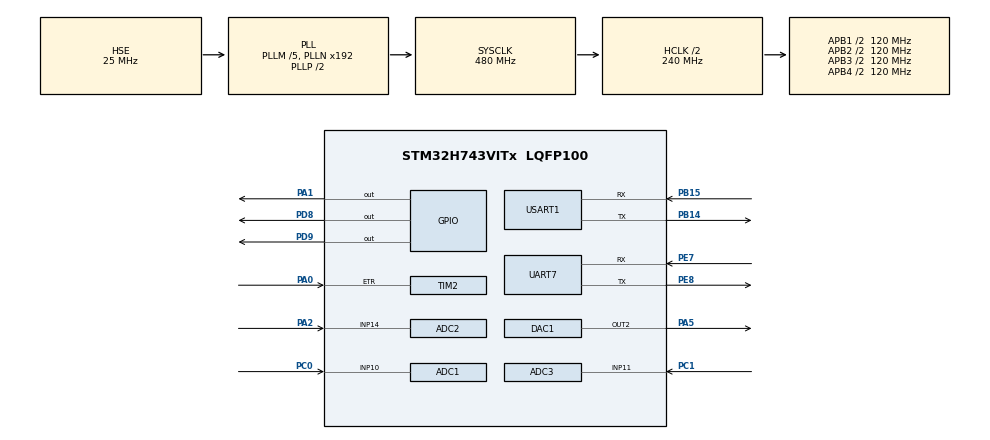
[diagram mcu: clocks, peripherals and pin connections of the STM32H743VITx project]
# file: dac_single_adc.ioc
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ADC1.Channel-0\#ChannelRegularConversion=ADC_CHANNEL_10
ADC1.ConversionDataManagement=ADC_CONVERSIONDATA_DMA_CIRCULAR
ADC1.EOCSelection=ADC_EOC_SINGLE_CONV
ADC1.ExternalTrigConv=ADC_EXTERNALTRIG_T15_TRGO
ADC1.NbrOfConversionFlag=1
ADC1.OffsetNumber-0\#ChannelRegularConversion=ADC_OFFSET_NONE
ADC1.OffsetSignedSaturation-0\#ChannelRegularConversion=DISABLE
ADC1.Rank-0\#ChannelRegularConversion=1
ADC1.SamplingTime-0\#ChannelRegularConversion=ADC_SAMPLETIME_1CYCLE_5
ADC1.master=1
ADC2.Channel-1\#ChannelRegularConversion=ADC_CHANNEL_14
ADC2.ConversionDataManagement=ADC_CONVERSIONDATA_DMA_CIRCULAR
ADC2.ExternalTrigConv=ADC_EXTERNALTRIG_T15_TRGO
ADC2.NbrOfConversionFlag=1
ADC2.OffsetNumber-1\#ChannelRegularConversion=ADC_OFFSET_NONE
ADC2.OffsetSignedSaturation-1\#ChannelRegularConversion=DISABLE
ADC2.Rank-1\#ChannelRegularConversion=1
ADC2.SamplingTime-1\#ChannelRegularConversion=ADC_SAMPLETIME_1CYCLE_5
ADC3.Channel-0\#ChannelRegularConversion=ADC_CHANNEL_11
ADC3.ConversionDataManagement=ADC_CONVERSIONDATA_DMA_CIRCULAR
ADC3.ExternalTrigConv=ADC_EXTERNALTRIG_T15_TRGO
ADC3.NbrOfConversion=1
ADC3.NbrOfConversionFlag=1
ADC3.OffsetNumber-0\#ChannelRegularConversion=ADC_OFFSET_NONE
ADC3.OffsetSignedSaturation-0\#ChannelRegularConversion=DISABLE
ADC3.Rank-0\#ChannelRegularConversion=1
ADC3.SamplingTime-0\#ChannelRegularConversion=ADC_SAMPLETIME_1CYCLE_5
CORTEX_M7.AccessPermission-Cortex_Memory_Protection_Unit_Region0_Settings=MPU_REGION_FULL_ACCESS
CORTEX_M7.AccessPermission-Cortex_Memory_Protection_Unit_Region1_Settings=MPU_REGION_FULL_ACCESS
CORTEX_M7.AccessPermission-Cortex_Memory_Protection_Unit_Region2_Settings=MPU_REGION_FULL_ACCESS
CORTEX_M7.AccessPermission-Cortex_Memory_Protection_Unit_Region3_Settings=MPU_REGION_FULL_ACCESS
CORTEX_M7.AccessPermission-Cortex_Memory_Protection_Unit_Region4_Settings=MPU_REGION_FULL_ACCESS
CORTEX_M7.BaseAddress-Cortex_Memory_Protection_Unit_Region0_Settings=0x24000000
CORTEX_M7.BaseAddress-Cortex_Memory_Protection_Unit_Region1_Settings=0x30000000
CORTEX_M7.BaseAddress-Cortex_Memory_Protection_Unit_Region2_Settings=0x30020000
CORTEX_M7.BaseAddress-Cortex_Memory_Protection_Unit_Region3_Settings=0x30040000
CORTEX_M7.BaseAddress-Cortex_Memory_Protection_Unit_Region4_Settings=0x38000000
CORTEX_M7.CPU_DCache=Enabled
CORTEX_M7.CPU_ICache=Enabled
CORTEX_M7.Enable-Cortex_Memory_Protection_Unit_Region0_Settings=MPU_REGION_ENABLE
CORTEX_M7.Enable-Cortex_Memory_Protection_Unit_Region1_Settings=MPU_REGION_ENABLE
CORTEX_M7.Enable-Cortex_Memory_Protection_Unit_Region2_Settings=MPU_REGION_ENABLE
CORTEX_M7.Enable-Cortex_Memory_Protection_Unit_Region3_Settings=MPU_REGION_ENABLE
CORTEX_M7.Enable-Cortex_Memory_Protection_Unit_Region4_Settings=MPU_REGION_ENABLE
CORTEX_M7.IsBufferable-Cortex_Memory_Protection_Unit_Region0_Settings=MPU_ACCESS_BUFFERABLE
CORTEX_M7.IsCacheable-Cortex_Memory_Protection_Unit_Region0_Settings=MPU_ACCESS_CACHEABLE
CORTEX_M7.MPU_Control=MPU_PRIVILEGED_DEFAULT
CORTEX_M7.Size-Cortex_Memory_Protection_Unit_Region0_Settings=MPU_REGION_SIZE_512KB
CORTEX_M7.Size-Cortex_Memory_Protection_Unit_Region1_Settings=MPU_REGION_SIZE_128KB
CORTEX_M7.Size-Cortex_Memory_Protection_Unit_Region2_Settings=MPU_REGION_SIZE_128KB
CORTEX_M7.Size-Cortex_Memory_Protection_Unit_Region3_Settings=MPU_REGION_SIZE_32KB
CORTEX_M7.Size-Cortex_Memory_Protection_Unit_Region4_Settings=MPU_REGION_SIZE_64KB
CORTEX_M7.TypeExtField-Cortex_Memory_Protection_Unit_Region0_Settings=MPU_TEX_LEVEL1
CORTEX_M7.TypeExtField-Cortex_Memory_Protection_Unit_Region1_Settings=MPU_TEX_LEVEL1
CORTEX_M7.TypeExtField-Cortex_Memory_Protection_Unit_Region2_Settings=MPU_TEX_LEVEL1
CORTEX_M7.TypeExtField-Cortex_Memory_Protection_Unit_Region3_Settings=MPU_TEX_LEVEL1
CORTEX_M7.TypeExtField-Cortex_Memory_Protection_Unit_Region4_Settings=MPU_TEX_LEVEL1
DAC1.DAC_Channel-DAC_OUT2=DAC_CHANNEL_2
Dma.ADC1.0.Direction=DMA_PERIPH_TO_MEMORY
Dma.ADC1.0.EventEnable=DISABLE
Dma.ADC1.0.FIFOMode=DMA_FIFOMODE_DISABLE
Dma.ADC1.0.Instance=DMA1_Stream0
Dma.ADC1.0.MemDataAlignment=DMA_MDATAALIGN_HALFWORD
Dma.ADC1.0.MemInc=DMA_MINC_ENABLE
Dma.ADC1.0.Mode=DMA_NORMAL
Dma.ADC1.0.PeriphDataAlignment=DMA_PDATAALIGN_HALFWORD
Dma.ADC1.0.PeriphInc=DMA_PINC_DISABLE
Dma.ADC1.0.Polarity=HAL_DMAMUX_REQ_GEN_RISING
Dma.ADC1.0.Priority=DMA_PRIORITY_LOW
Dma.ADC1.0.RequestNumber=1
Dma.ADC1.0.SignalID=NONE
Dma.ADC1.0.SyncEnable=DISABLE
Dma.ADC1.0.SyncPolarity=HAL_DMAMUX_SYNC_NO_EVENT
Dma.ADC1.0.SyncRequestNumber=1
Dma.ADC1.0.SyncSignalID=NONE
Dma.ADC2.3.Direction=DMA_PERIPH_TO_MEMORY
Dma.ADC2.3.EventEnable=DISABLE
Dma.ADC2.3.FIFOMode=DMA_FIFOMODE_DISABLE
Dma.ADC2.3.Instance=DMA1_Stream1
Dma.ADC2.3.MemDataAlignment=DMA_MDATAALIGN_HALFWORD
Dma.ADC2.3.MemInc=DMA_MINC_ENABLE
Dma.ADC2.3.Mode=DMA_NORMAL
Dma.ADC2.3.PeriphDataAlignment=DMA_PDATAALIGN_HALFWORD
Dma.ADC2.3.PeriphInc=DMA_PINC_DISABLE
Dma.ADC2.3.Polarity=HAL_DMAMUX_REQ_GEN_RISING
Dma.ADC2.3.Priority=DMA_PRIORITY_LOW
Dma.ADC2.3.RequestNumber=1
Dma.ADC2.3.SignalID=NONE
Dma.ADC2.3.SyncEnable=DISABLE
Dma.ADC2.3.SyncPolarity=HAL_DMAMUX_SYNC_NO_EVENT
Dma.ADC2.3.SyncRequestNumber=1
Dma.ADC2.3.SyncSignalID=NONE
Dma.ADC3.2.Direction=DMA_PERIPH_TO_MEMORY
Dma.ADC3.2.EventEnable=DISABLE
Dma.ADC3.2.FIFOMode=DMA_FIFOMODE_DISABLE
Dma.ADC3.2.Instance=DMA1_Stream2
Dma.ADC3.2.MemDataAlignment=DMA_MDATAALIGN_HALFWORD
Dma.ADC3.2.MemInc=DMA_MINC_ENABLE
Dma.ADC3.2.Mode=DMA_NORMAL
Dma.ADC3.2.PeriphDataAlignment=DMA_PDATAALIGN_HALFWORD
Dma.ADC3.2.PeriphInc=DMA_PINC_DISABLE
Dma.ADC3.2.Polarity=HAL_DMAMUX_REQ_GEN_RISING
Dma.ADC3.2.Priority=DMA_PRIORITY_LOW
Dma.ADC3.2.RequestNumber=1
Dma.ADC3.2.SignalID=NONE
Dma.ADC3.2.SyncEnable=DISABLE
Dma.ADC3.2.SyncPolarity=HAL_DMAMUX_SYNC_NO_EVENT
Dma.ADC3.2.SyncRequestNumber=1
Dma.ADC3.2.SyncSignalID=NONE
Dma.DAC1_CH2.1.Direction=DMA_MEMORY_TO_PERIPH
Dma.DAC1_CH2.1.EventEnable=DISABLE
Dma.DAC1_CH2.1.FIFOMode=DMA_FIFOMODE_DISABLE
Dma.DAC1_CH2.1.Instance=DMA1_Stream3
Dma.DAC1_CH2.1.MemDataAlignment=DMA_MDATAALIGN_HALFWORD
Dma.DAC1_CH2.1.MemInc=DMA_MINC_ENABLE
Dma.DAC1_CH2.1.Mode=DMA_CIRCULAR
Dma.DAC1_CH2.1.PeriphDataAlignment=DMA_PDATAALIGN_HALFWORD
Dma.DAC1_CH2.1.PeriphInc=DMA_PINC_DISABLE
Dma.DAC1_CH2.1.Polarity=HAL_DMAMUX_REQ_GEN_RISING
Dma.DAC1_CH2.1.Priority=DMA_PRIORITY_LOW
Dma.DAC1_CH2.1.RequestNumber=1
Dma.DAC1_CH2.1.SignalID=NONE
Dma.DAC1_CH2.1.SyncEnable=DISABLE
Dma.DAC1_CH2.1.SyncPolarity=HAL_DMAMUX_SYNC_NO_EVENT
Dma.DAC1_CH2.1.SyncRequestNumber=1
Dma.DAC1_CH2.1.SyncSignalID=NONE
Dma.Request0=ADC1
Dma.Request1=DAC1_CH2
Dma.Request2=ADC3
Dma.Request3=ADC2
Mcu.Family=STM32H7
Mcu.Name=STM32H743VITx
Mcu.Package=LQFP100
NVIC.DMA1_Stream0_IRQn=true\:0\:0\:false\:false\:true\:false\:true\:true
NVIC.DMA1_Stream1_IRQn=true\:0\:0\:false\:false\:true\:false\:true\:true
NVIC.DMA1_Stream2_IRQn=true\:0\:0\:false\:false\:true\:false\:true\:true
NVIC.DMA1_Stream3_IRQn=true\:0\:0\:false\:false\:true\:false\:true\:true
NVIC.PriorityGroup=NVIC_PRIORITYGROUP_4
NVIC.TIM4_IRQn=true\:0\:0\:false\:false\:true\:true\:true\:true
NVIC.UART7_IRQn=true\:0\:0\:false\:false\:true\:true\:true\:true
NVIC.USART1_IRQn=true\:0\:0\:false\:false\:true\:true\:true\:true
PA0.Signal=S_TIM2_CH1_ETR
PA1.Signal=GPIO_Output
PA13\ (JTMS/SWDIO).Mode=Trace_Asynchronous_SW
PA13\ (JTMS/SWDIO).Signal=DEBUG_JTMS-SWDIO
PA14\ (JTCK/SWCLK).Mode=Trace_Asynchronous_SW
PA14\ (JTCK/SWCLK).Signal=DEBUG_JTCK-SWCLK
PA2.Signal=ADCx_INP14
PA5.Signal=COMP_DAC12_group
PB14.Mode=Asynchronous
PB14.Signal=USART1_TX
PB15.Mode=Asynchronous
PB15.Signal=USART1_RX
PB3\ (JTDO/TRACESWO).Mode=Trace_Asynchronous_SW
PB3\ (JTDO/TRACESWO).Signal=DEBUG_JTDO-SWO
PC0.Signal=ADCx_INP10
PC1.Signal=ADCx_INP11
PD8.PinState=GPIO_PIN_SET
PD8.Signal=GPIO_Output
PD9.PinState=GPIO_PIN_SET
PD9.Signal=GPIO_Output
PE7.Mode=Asynchronous
PE7.Signal=UART7_RX
PE8.Mode=Asynchronous
PE8.Signal=UART7_TX
PH0-OSC_IN\ (PH0).Mode=HSE-External-Oscillator
PH0-OSC_IN\ (PH0).Signal=RCC_OSC_IN
PH1-OSC_OUT\ (PH1).Mode=HSE-External-Oscillator
PH1-OSC_OUT\ (PH1).Signal=RCC_OSC_OUT
ProjectManager.HeapSize=0x200
ProjectManager.StackSize=0x7400
ProjectManager.TargetToolchain=MDK-ARM V5.32
RCC.ADCFreq_Value=72000000
RCC.APB1Freq_Value=120000000
RCC.APB2Freq_Value=120000000
RCC.APB3Freq_Value=120000000
RCC.APB4Freq_Value=120000000
RCC.CortexFreq_Value=480000000
RCC.D1PPRE=RCC_APB3_DIV2
RCC.D2PPRE1=RCC_APB1_DIV2
RCC.D2PPRE2=RCC_APB2_DIV2
RCC.D3PPRE=RCC_APB4_DIV2
RCC.DIVM1=5
RCC.DIVM2=25
RCC.DIVN1=192
RCC.DIVN2=360
RCC.DIVP2=5
RCC.HCLKFreq_Value=240000000
RCC.HPRE=RCC_HCLK_DIV2
RCC.HSE_VALUE=25000000
RCC.PLLSourceVirtual=RCC_PLLSOURCE_HSE
RCC.PWR_Regulator_Voltage_Scale=PWR_REGULATOR_VOLTAGE_SCALE0
RCC.ProductRev=revV
RCC.SYSCLKFreq_VALUE=480000000
RCC.SYSCLKSource=RCC_SYSCLKSOURCE_PLLCLK
RCC.USBFreq_Value=480000000
SH.ADCx_INP10.0=ADC1_INP10,IN10-Single-Ended
SH.ADCx_INP11.0=ADC3_INP11,IN11-Single-Ended
SH.ADCx_INP14.0=ADC2_INP14,IN14-Single-Ended
SH.COMP_DAC12_group.0=DAC1_OUT2,DAC_OUT2
SH.S_TIM2_CH1_ETR.0=TIM2_ETR,ClockSourceETR_Mode2
TIM15.Period=16-1
TIM15.Prescaler=50-1
TIM15.TIM_MasterOutputTrigger=TIM_TRGO_UPDATE
TIM2.AutoReloadPreload=TIM_AUTORELOAD_PRELOAD_ENABLE
TIM4.AutoReloadPreload=TIM_AUTORELOAD_PRELOAD_ENABLE
TIM4.Period=1000
TIM4.Prescaler=240-1
TIM6.AutoReloadPreload=TIM_AUTORELOAD_PRELOAD_ENABLE
TIM6.Period=200-1
TIM6.Prescaler=12-1
TIM6.TIM_MasterOutputTrigger=TIM_TRGO_UPDATE
TIM7.Prescaler=239
USART1.VirtualMode-Asynchronous=VM_ASYNC
VP_MEMORYMAP_VS_MEMORYMAP.Mode=CurAppReg
VP_TIM15_VS_ClockSourceINT.Mode=Internal
VP_TIM4_VS_ClockSourceINT.Mode=Internal
VP_TIM6_VS_ClockSourceINT.Mode=Enable_Timer
VP_TIM7_VS_ClockSourceINT.Mode=Enable_Timer
board=custom

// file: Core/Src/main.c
/* USER CODE BEGIN Header */
/**
  ******************************************************************************
  * @file           : main.c
  * @brief          : Main program body
  ******************************************************************************
  * @attention
  *
  * Copyright (c) 2023 STMicroelectronics.
  * All rights reserved.
  *
  * This software is licensed under terms that can be found in the LICENSE file
  * in the root directory of this software component.
  * If no LICENSE file comes with this software, it is provided AS-IS.
  *
  ******************************************************************************
  */
/* USER CODE END Header */
#include "main.h"
#include "adc.h"
#include "dac.h"
#include "dma.h"
#include "memorymap.h"
#include "tim.h"
#include "usart.h"
#include "gpio.h"

/* USER CODE BEGIN Includes */
#include <stdio.h>
#include <string.h>
#include <stdlib.h>
//#include "fun.h"
#include "capture.h"
#include "xfft.h"
#include "stm32h7xx_hal_gpio.h"
/* USER CODE END Includes */

/* USER CODE BEGIN PTD */
ALIGN_32BYTES (uint16_t adc1_data[FFT_LENGTH]) 	__attribute__((section(".ARM.__at_0x30000000")));
ALIGN_32BYTES (uint16_t adc2_data[FFT_LENGTH]) 	__attribute__((section(".ARM.__at_0x30020000")));
ALIGN_32BYTES (uint16_t adc3_data[FFT_LENGTH]) 	__attribute__((section(".ARM.__at_0x30040000")));
__IO uint8_t AdcConvEnd = 0;//表示adc采集完成
ALIGN_32BYTES (uint16_t Dat[200]) 	__attribute__((section(".ARM.__at_0x38000000")));
uint8_t rec_data;

void adc1_init(void)
{
	//printf("start_adc1\n");
	MX_ADC1_Init();	//初始化调用放这里, 确保在MX_DMA_Init()初始化后面
	HAL_Delay(10);	//有地方说这里可以等等电压稳定后再校准

	if (HAL_ADCEx_Calibration_Start(&hadc1, ADC_CALIB_OFFSET, ADC_SINGLE_ENDED) != HAL_OK)
	{
			printf("hadc1 error with HAL_ADCEx_Calibration_Start\r\n");
			Error_Handler();
	}

	if (HAL_ADC_Start_DMA(&hadc1, (uint32_t *)adc1_data, FFT_LENGTH) != HAL_OK)
	{
			printf("hadc1 error with HAL_ADC_Start_DMA\r\n");
			Error_Handler();
	}

	HAL_TIM_Base_Start(&htim15);
	while (!AdcConvEnd);
	AdcConvEnd = 0;
	HAL_ADC_DeInit(&hadc1);
	HAL_TIM_Base_Stop(&htim15);
	/*for(int i=0;i<FFT_LENGTH;i++)
		{
			printf("%f\r\n", (adc1_data[i]*3.3/65535));
		}*/
}

void adc2_init(void)
{
	//printf("start_adc2\n");
	MX_ADC2_Init();	//初始化调用放这里, 确保在MX_DMA_Init()初始化后面
	HAL_Delay(10);	//有地方说这里可以等等电压稳定后再校准

	if (HAL_ADCEx_Calibration_Start(&hadc2, ADC_CALIB_OFFSET, ADC_SINGLE_ENDED) != HAL_OK)
	{
			printf("hadc2 error with HAL_ADCEx_Calibration_Start\r\n");
			Error_Handler();
	}

	if (HAL_ADC_Start_DMA(&hadc2, (uint32_t *)adc2_data, FFT_LENGTH) != HAL_OK)
	{
			printf("hadc2 error with HAL_ADC_Start_DMA\r\n");
			Error_Handler();
	}

	HAL_TIM_Base_Start(&htim15);
	while (!AdcConvEnd);
	AdcConvEnd = 0;
	HAL_ADC_DeInit(&hadc2);
	HAL_TIM_Base_Stop(&htim15);
}

void adc3_init(void)
{
	//printf("start_adc3\n");
	MX_ADC3_Init();	//初始化调用放这里, 确保在MX_DMA_Init()初始化后面
	HAL_Delay(10);	//有地方说这里可以等等电压稳定后再校准

	if (HAL_ADCEx_Calibration_Start(&hadc3, ADC_CALIB_OFFSET, ADC_SINGLE_ENDED) != HAL_OK)
	{
			printf("hadc1 error with HAL_ADCEx_Calibration_Start\r\n");
			Error_Handler();
	}

	if (HAL_ADC_Start_DMA(&hadc3, (uint32_t *)adc3_data, FFT_LENGTH) != HAL_OK)
	{
			printf("hadc3 error with HAL_ADC_Start_DMA\r\n");
			Error_Handler();
	}

	HAL_TIM_Base_Start(&htim15);
	while (!AdcConvEnd);
	AdcConvEnd = 0;
	HAL_ADC_DeInit(&hadc3);
	HAL_TIM_Base_Stop(&htim15);
	/*for(int i=0;i<FFT_LENGTH;i++)
		{
			printf("%f\r\n", (adc3_data[i]*3.3/65535));
		}*/
}

void double_adc(void)
{
	MX_ADC1_Init();
	MX_ADC3_Init();	//初始化调用放这里, 确保在MX_DMA_Init()初始化后面
	HAL_Delay(100);	//有地方说这里可以等等电压稳定后再校准
	if (HAL_ADCEx_Calibration_Start(&hadc1, ADC_CALIB_OFFSET, ADC_SINGLE_ENDED) != HAL_OK)
	{
			printf("hadc1 error with HAL_ADCEx_Calibration_Start\r\n");
			Error_Handler();
	}

	if (HAL_ADC_Start_DMA(&hadc1, (uint32_t *)adc1_data, FFT_LENGTH) != HAL_OK)
	{
			printf("hadc1 error with HAL_ADC_Start_DMA\r\n");
			Error_Handler();
	}
	if (HAL_ADCEx_Calibration_Start(&hadc3, ADC_CALIB_OFFSET, ADC_SINGLE_ENDED) != HAL_OK)
	{
			printf("hadc1 error with HAL_ADCEx_Calibration_Start\r\n");
			Error_Handler();
	}

	if (HAL_ADC_Start_DMA(&hadc3, (uint32_t *)adc3_data, FFT_LENGTH) != HAL_OK)
	{
			printf("hadc3 error with HAL_ADC_Start_DMA\r\n");
			Error_Handler();
	}

	HAL_TIM_Base_Start(&htim15);
	while (!AdcConvEnd);
	AdcConvEnd = 0;
	HAL_ADC_DeInit(&hadc1);
	HAL_ADC_DeInit(&hadc3);
	HAL_TIM_Base_Stop(&htim15);
}

/* USER CODE END PTD */

/* USER CODE BEGIN PM */
void SineWave()
{
    uint16_t i;
    for( i=0;i<200;i++)
    {
  		Dat[i]=(uint16_t)((int16_t)(2048*sin(i*2*3.1415926/200))+2048);
//			Dat[i] = 4095;
    }
//	Dat[0] = 0;
//	Dat[1] = 4095;
}
/* USER CODE END PM */

/* USER CODE BEGIN PV */
uint32_t 	cnt_value[5] 	= {0};
uint32_t 	flag_f;
uint32_t 	frequency = 0;
uint32_t cnt_flag = 0;
int mode = 0;
/* USER CODE END PV */

void SystemClock_Config(void);
void PeriphCommonClock_Config(void);
static void MPU_Config(void);

int main(void)
{

  /* MPU Configuration--------------------------------------------------------*/
  MPU_Config();

  /* Enable the CPU Cache */

  /* Enable I-Cache---------------------------------------------------------*/
  SCB_EnableICache();

  /* Enable D-Cache---------------------------------------------------------*/
  SCB_EnableDCache();

  /* MCU Configuration--------------------------------------------------------*/

  /* Reset of all peripherals, Initializes the Flash interface and the Systick. */
  HAL_Init();

  /* Configure the system clock */
  SystemClock_Config();

  /* Configure the peripherals common clocks */
  PeriphCommonClock_Config();

  /* Initialize all configured peripherals */
  MX_GPIO_Init();
  MX_DMA_Init();
  MX_TIM7_Init();
  MX_DAC1_Init();
  MX_USART1_UART_Init();
  MX_TIM6_Init();
  MX_ADC1_Init();
  MX_TIM15_Init();
  MX_ADC3_Init();
  MX_ADC2_Init();
  MX_UART7_Init();
  MX_TIM2_Init();
  MX_TIM4_Init();
  /* USER CODE BEGIN 2 */
	printf("strat\r\n");
	HAL_TIM_Base_Start_IT(&htim4);
	HAL_TIM_Base_Start(&htim2);

	HAL_UART_Receive_IT(&huart1,&rec_data,1);
	uint8_t k=1;

  /* USER CODE END 2 */

  /* Infinite loop */
  /* USER CODE BEGIN WHILE */
	/*HAL_GPIO_WritePin (GPIOD,GPIO_PIN_8,GPIO_PIN_SET);
*/

	HAL_DAC_SetValue(&hdac1, DAC_CHANNEL_2,DAC_ALIGN_12B_R,4095);
	HAL_DAC_Start(&hdac1,DAC_CHANNEL_2);
	//测试代码
	adc3_init();
	FFT_Init(adc3_data);//Ri_v1
	//FFT_DIS();
	for (int j=0;j<5;j++)
		{
			printf("v%d=%.2f\r\n",j,v1[j]);
			printf("f%d=%.2f\r\n",j,f2[j]);
		}
	//ChangeFreq();

	//Debug();
  while (1)
  {
		if (mode == 0)
		{
			if (rec_data == '1') mode = 1;
			else if (rec_data =='2') mode = 2;
		}
		if(mode =='1')
		{
			length_cmp();
			mode = 0;
		}
		else if(mode == '2')
		{
			load_type();
			mode = 0;
		}
//	for(int i=0;i<FFT_LENGTH;i++)
//	{
//		printf("%d\r\n",adc3_data[i]);
//	}

    /* USER CODE END WHILE */

  }
}

void SystemClock_Config(void)
{
  RCC_OscInitTypeDef RCC_OscInitStruct = {0};
  RCC_ClkInitTypeDef RCC_ClkInitStruct = {0};

  /** Supply configuration update enable
  */
  HAL_PWREx_ConfigSupply(PWR_LDO_SUPPLY);

  /** Configure the main internal regulator output voltage
  */
  __HAL_PWR_VOLTAGESCALING_CONFIG(PWR_REGULATOR_VOLTAGE_SCALE1);

  while(!__HAL_PWR_GET_FLAG(PWR_FLAG_VOSRDY)) {}

  __HAL_RCC_SYSCFG_CLK_ENABLE();
  __HAL_PWR_VOLTAGESCALING_CONFIG(PWR_REGULATOR_VOLTAGE_SCALE0);

  while(!__HAL_PWR_GET_FLAG(PWR_FLAG_VOSRDY)) {}

  /** Initializes the RCC Oscillators according to the specified parameters
  * in the RCC_OscInitTypeDef structure.
  */
  RCC_OscInitStruct.OscillatorType = RCC_OSCILLATORTYPE_HSE;
  RCC_OscInitStruct.HSEState = RCC_HSE_ON;
  RCC_OscInitStruct.PLL.PLLState = RCC_PLL_ON;
  RCC_OscInitStruct.PLL.PLLSource = RCC_PLLSOURCE_HSE;
  RCC_OscInitStruct.PLL.PLLM = 5;
  RCC_OscInitStruct.PLL.PLLN = 192;
  RCC_OscInitStruct.PLL.PLLP = 2;
  RCC_OscInitStruct.PLL.PLLQ = 2;
  RCC_OscInitStruct.PLL.PLLR = 2;
  RCC_OscInitStruct.PLL.PLLRGE = RCC_PLL1VCIRANGE_2;
  RCC_OscInitStruct.PLL.PLLVCOSEL = RCC_PLL1VCOWIDE;
  RCC_OscInitStruct.PLL.PLLFRACN = 0;
  if (HAL_RCC_OscConfig(&RCC_OscInitStruct) != HAL_OK)
  {
    Error_Handler();
  }

  /** Initializes the CPU, AHB and APB buses clocks
  */
  RCC_ClkInitStruct.ClockType = RCC_CLOCKTYPE_HCLK|RCC_CLOCKTYPE_SYSCLK
                              |RCC_CLOCKTYPE_PCLK1|RCC_CLOCKTYPE_PCLK2
                              |RCC_CLOCKTYPE_D3PCLK1|RCC_CLOCKTYPE_D1PCLK1;
  RCC_ClkInitStruct.SYSCLKSource = RCC_SYSCLKSOURCE_PLLCLK;
  RCC_ClkInitStruct.SYSCLKDivider = RCC_SYSCLK_DIV1;
  RCC_ClkInitStruct.AHBCLKDivider = RCC_HCLK_DIV2;
  RCC_ClkInitStruct.APB3CLKDivider = RCC_APB3_DIV2;
  RCC_ClkInitStruct.APB1CLKDivider = RCC_APB1_DIV2;
  RCC_ClkInitStruct.APB2CLKDivider = RCC_APB2_DIV2;
  RCC_ClkInitStruct.APB4CLKDivider = RCC_APB4_DIV2;

  if (HAL_RCC_ClockConfig(&RCC_ClkInitStruct, FLASH_LATENCY_4) != HAL_OK)
  {
    Error_Handler();
  }
}

void PeriphCommonClock_Config(void)
{
  RCC_PeriphCLKInitTypeDef PeriphClkInitStruct = {0};

  /** Initializes the peripherals clock
  */
  PeriphClkInitStruct.PeriphClockSelection = RCC_PERIPHCLK_ADC;
  PeriphClkInitStruct.PLL2.PLL2M = 25;
  PeriphClkInitStruct.PLL2.PLL2N = 360;
  PeriphClkInitStruct.PLL2.PLL2P = 5;
  PeriphClkInitStruct.PLL2.PLL2Q = 2;
  PeriphClkInitStruct.PLL2.PLL2R = 2;
  PeriphClkInitStruct.PLL2.PLL2RGE = RCC_PLL2VCIRANGE_0;
  PeriphClkInitStruct.PLL2.PLL2VCOSEL = RCC_PLL2VCOWIDE;
  PeriphClkInitStruct.PLL2.PLL2FRACN = 0;
  PeriphClkInitStruct.AdcClockSelection = RCC_ADCCLKSOURCE_PLL2;
  if (HAL_RCCEx_PeriphCLKConfig(&PeriphClkInitStruct) != HAL_OK)
  {
    Error_Handler();
  }
}

/* USER CODE BEGIN 4 */
void HAL_ADC_ConvCpltCallback(ADC_HandleTypeDef* hadc)
{
   if(hadc->Instance == ADC1)
	{
      //SCB_InvalidateDCache_by_Addr((uint32_t *) &adc1_data[0], ADC1_BUFFER_SIZE);
   }
	 AdcConvEnd = 1;
}
void HAL_TIM_PeriodElapsedCallback(TIM_HandleTypeDef *htim)
{
	if (htim->Instance == htim4.Instance)
	{
			cnt_value[flag_f]= __HAL_TIM_GetCounter(&htim2);//读取外部计数器的值
			__HAL_TIM_SetCounter(&htim2,0);
			flag_f++;
			if(flag_f == 5)
			{
				flag_f = 0;
				frequency = (cnt_value[2]+cnt_value[3]+cnt_value[4])/3*1000;
				HAL_TIM_Base_Stop_IT(&htim4);
				cnt_flag = 1;
			}
	}
}
/* USER CODE END 4 */

 /* MPU Configuration */

void MPU_Config(void)
{
  MPU_Region_InitTypeDef MPU_InitStruct = {0};

  /* Disables the MPU */
  HAL_MPU_Disable();

  /** Initializes and configures the Region and the memory to be protected
  */
  MPU_InitStruct.Enable = MPU_REGION_ENABLE;
  MPU_InitStruct.Number = MPU_REGION_NUMBER0;
  MPU_InitStruct.BaseAddress = 0x24000000;
  MPU_InitStruct.Size = MPU_REGION_SIZE_512KB;
  MPU_InitStruct.SubRegionDisable = 0x0;
  MPU_InitStruct.TypeExtField = MPU_TEX_LEVEL1;
  MPU_InitStruct.AccessPermission = MPU_REGION_FULL_ACCESS;
  MPU_InitStruct.DisableExec = MPU_INSTRUCTION_ACCESS_ENABLE;
  MPU_InitStruct.IsShareable = MPU_ACCESS_NOT_SHAREABLE;
  MPU_InitStruct.IsCacheable = MPU_ACCESS_CACHEABLE;
  MPU_InitStruct.IsBufferable = MPU_ACCESS_BUFFERABLE;

  HAL_MPU_ConfigRegion(&MPU_InitStruct);

  /** Initializes and configures the Region and the memory to be protected
  */
  MPU_InitStruct.Number = MPU_REGION_NUMBER1;
  MPU_InitStruct.BaseAddress = 0x30000000;
  MPU_InitStruct.Size = MPU_REGION_SIZE_128KB;
  MPU_InitStruct.IsCacheable = MPU_ACCESS_NOT_CACHEABLE;
  MPU_InitStruct.IsBufferable = MPU_ACCESS_NOT_BUFFERABLE;

  HAL_MPU_ConfigRegion(&MPU_InitStruct);

  /** Initializes and configures the Region and the memory to be protected
  */
  MPU_InitStruct.Number = MPU_REGION_NUMBER2;
  MPU_InitStruct.BaseAddress = 0x30020000;

  HAL_MPU_ConfigRegion(&MPU_InitStruct);

  /** Initializes and configures the Region and the memory to be protected
  */
  MPU_InitStruct.Number = MPU_REGION_NUMBER3;
  MPU_InitStruct.BaseAddress = 0x30040000;
  MPU_InitStruct.Size = MPU_REGION_SIZE_32KB;

  HAL_MPU_ConfigRegion(&MPU_InitStruct);

  /** Initializes and configures the Region and the memory to be protected
  */
  MPU_InitStruct.Number = MPU_REGION_NUMBER4;
  MPU_InitStruct.BaseAddress = 0x38000000;
  MPU_InitStruct.Size = MPU_REGION_SIZE_64KB;

  HAL_MPU_ConfigRegion(&MPU_InitStruct);
  /* Enables the MPU */
  HAL_MPU_Enable(MPU_PRIVILEGED_DEFAULT);

}

void Error_Handler(void)
{
  __disable_irq();
  while (1)
  {
  }
}
